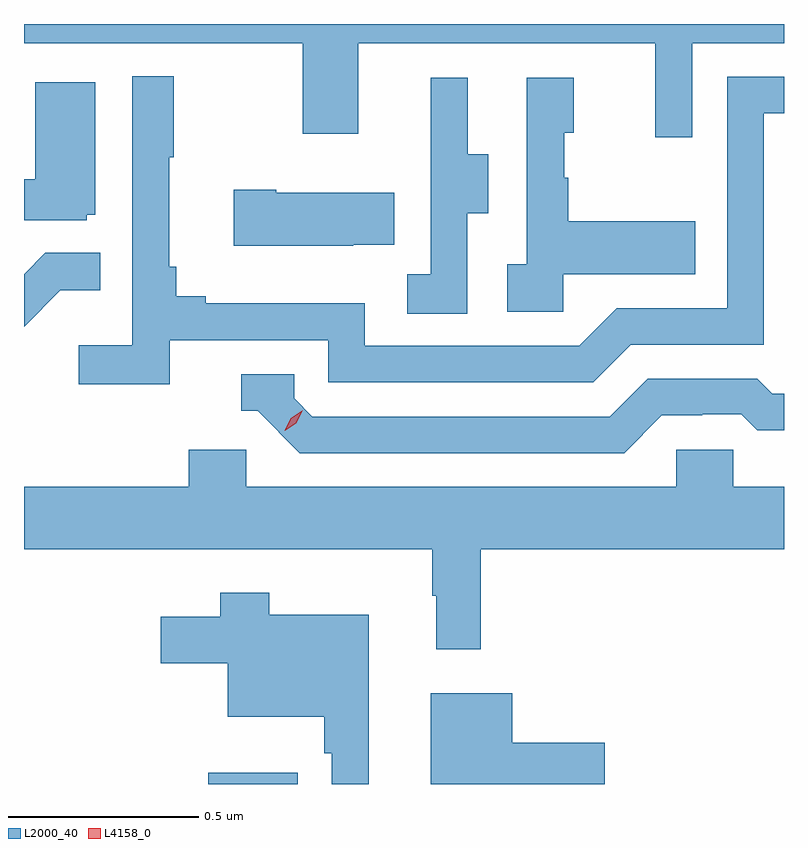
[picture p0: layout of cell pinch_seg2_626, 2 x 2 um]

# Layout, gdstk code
import gdstk
lib = gdstk.Library(unit=1e-6, precision=1e-09)
def R(c, l, rs):  # rectangles x0, y0, x1, y1
    for r in rs: c.add(gdstk.rectangle(r[:2], r[2:], *l))
def P(c, l, *ps):  # polygons
    for p in ps: c.add(gdstk.Polygon(p, *l))
L2000_40 = (2000, 40)
L4158_0 = (4158, 0)

pinch_seg2_626 = lib.new_cell('pinch_seg2_626')
R(pinch_seg2_626, L2000_40, [(1019.612,612.386,1019.848,612.415)])
P(pinch_seg2_626, L2000_40, [(1020.885,614.336),(1021.127,614.336),(1021.127,614.386),(1019.127,614.386),(1019.127,614.336),(1019.86,614.336),(1019.86,614.097),(1020.007,614.097),(1020.007,614.336),(1020.788,614.336),(1020.788,614.088),(1020.885,614.088)],
  [(1019.51,613.554),(1019.928,613.554),(1019.928,613.443),(1020.625,613.443),(1020.724,613.542),(1021.074,613.542),(1021.074,614.151),(1021.127,614.151),(1021.127,614.247),(1020.978,614.247),(1020.978,613.638),(1020.687,613.638),(1020.588,613.539),(1020.024,613.539),(1020.024,613.651),(1019.605,613.651),(1019.605,613.67),(1019.528,613.67),(1019.528,613.747),(1019.509,613.747),(1019.509,614.035),(1019.521,614.035),(1019.521,614.248),(1019.412,614.248),(1019.412,613.54),(1019.271,613.54),(1019.271,613.438),(1019.51,613.438)],
  [(1020.294,613.888),(1020.349,613.888),(1020.349,614.043),(1020.295,614.043),(1020.295,614.245),(1020.197,614.245),(1020.197,614.031),(1020.198,614.031),(1020.198,613.727),(1020.135,613.727),(1020.135,613.624),(1020.294,613.624)],
  [(1020.546,613.727),(1020.893,613.727),(1020.893,613.867),(1020.559,613.867),(1020.559,613.982),(1020.549,613.982),(1020.549,614.1),(1020.574,614.1),(1020.574,614.245),(1020.45,614.245),(1020.45,613.754),(1020.399,613.754),(1020.399,613.629),(1020.546,613.629)],
  [(1019.292,613.884),(1019.314,613.884),(1019.314,614.233),(1019.156,614.233),(1019.156,613.978),(1019.127,613.978),(1019.127,613.869),(1019.292,613.869)],
  [(1019.993,613.805),(1020.101,613.805),(1020.101,613.942),(1019.791,613.942),(1019.791,613.95),(1019.679,613.95),(1019.679,613.802),(1019.993,613.802)],
  [(1019.223,613.685),(1019.327,613.685),(1019.327,613.784),(1019.183,613.784),(1019.127,613.728),(1019.127,613.589)],
  [(1020.805,613.356),(1020.912,613.356),(1020.912,613.359),(1021.015,613.359),(1021.057,613.317),(1021.127,613.317),(1021.127,613.413),(1021.096,613.413),(1021.057,613.452),(1020.768,613.452),(1020.669,613.353),(1019.886,613.353),(1019.838,613.401),(1019.838,613.464),(1019.699,613.464),(1019.699,613.368),(1019.742,613.368),(1019.853,613.257),(1020.706,613.257)],
  [(1020.329,613.004),(1021.127,613.004),(1021.127,613.168),(1020.993,613.168),(1020.993,613.266),(1020.843,613.266),(1020.843,613.168),(1019.712,613.168),(1019.712,613.266),(1019.561,613.266),(1019.561,613.168),(1019.127,613.168),(1019.127,613.004),(1020.201,613.004),(1020.201,612.881),(1020.212,612.881),(1020.212,612.741),(1020.329,612.741)],
  [(1020.034,612.832),(1019.773,612.832),(1019.773,612.889),(1019.644,612.889),(1019.644,612.826),(1019.487,612.826),(1019.487,612.704),(1019.663,612.704),(1019.663,612.563),(1019.917,612.563),(1019.917,612.467),(1019.937,612.467),(1019.937,612.386),(1020.034,612.386)],
  [(1020.655,612.494),(1020.412,612.494),(1020.412,612.625),(1020.197,612.625),(1020.197,612.386),(1020.655,612.386)])
P(pinch_seg2_626, L4158_0, [(1019.813,613.316),(1019.813,613.317),(1019.829,613.349),(1019.86,613.369),(1019.861,613.369),(1019.861,613.369),(1019.844,613.336),(1019.813,613.316)])

lib.write_gds('pinch_seg2_626.gds')
